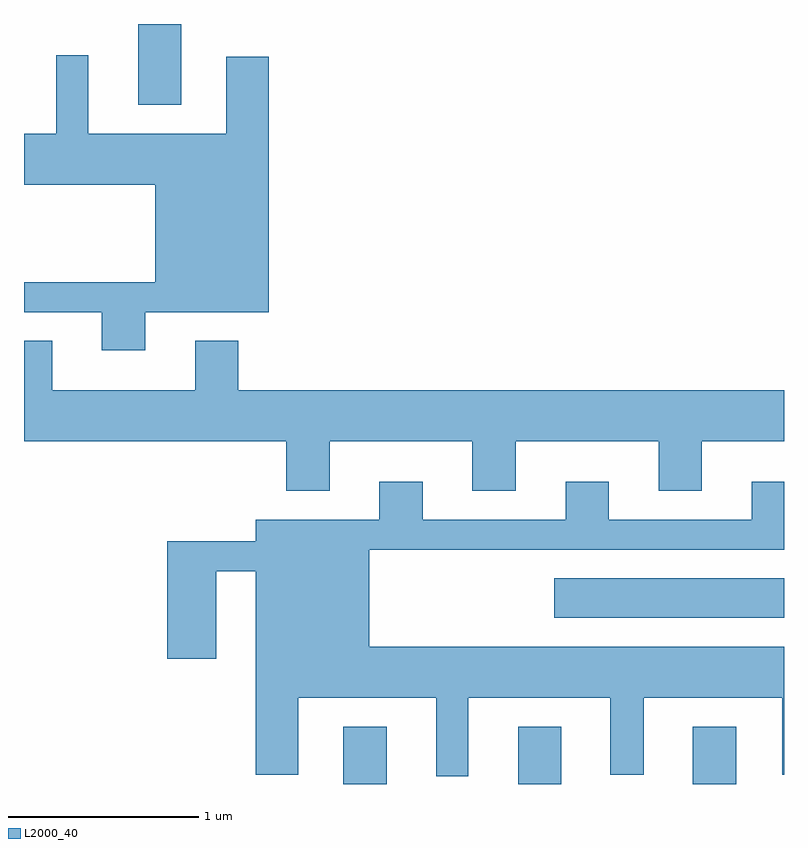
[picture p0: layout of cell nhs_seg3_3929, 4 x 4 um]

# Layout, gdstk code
import gdstk
lib = gdstk.Library(unit=1e-6, precision=1e-09)
def R(c, l, rs):  # rectangles x0, y0, x1, y1
    for r in rs: c.add(gdstk.rectangle(r[:2], r[2:], *l))
def A(c, l, x, y, w, h, nx, ny, dx, dy):  # array of equal rectangles
    R(c, l, [(x+i*dx, y+j*dy, x+i*dx+w, y+j*dy+h) for i in range(nx) for j in range(ny)])
def P(c, l, *ps):  # polygons
    for p in ps: c.add(gdstk.Polygon(p, *l))
L2000_40 = (2000, 40)

nhs_seg3_3929 = lib.new_cell('nhs_seg3_3929')
A(nhs_seg3_3929, L2000_40, 301.291, 1221.892, 0.228, 0.302, 3, 1, 0.92, 0)
R(nhs_seg3_3929, L2000_40, [(302.401,1222.766,303.611,1222.974), (300.211,1225.466,300.439,1225.892)])
P(nhs_seg3_3929, L2000_40, [(300.249,1224.376),(300.899,1224.376),(300.899,1225.719),(300.676,1225.719),(300.676,1225.314),(299.949,1225.314),(299.949,1225.728),(299.781,1225.728),(299.781,1225.314),(299.611,1225.314),(299.611,1225.046),(300.301,1225.046),(300.301,1224.534),(299.611,1224.534),(299.611,1224.376),(300.021,1224.376),(300.021,1224.176),(300.249,1224.176)],
  [(300.511,1224.224),(300.511,1223.964),(299.759,1223.964),(299.759,1224.224),(299.611,1224.224),(299.611,1223.696),(300.991,1223.696),(300.991,1223.436),(301.219,1223.436),(301.219,1223.696),(301.971,1223.696),(301.971,1223.436),(302.199,1223.436),(302.199,1223.696),(302.951,1223.696),(302.951,1223.436),(303.179,1223.436),(303.179,1223.696),(303.611,1223.696),(303.611,1223.964),(300.739,1223.964),(300.739,1224.224)],
  [(301.949,1222.346),(302.696,1222.346),(302.696,1221.941),(302.874,1221.941),(302.874,1222.346),(303.601,1222.346),(303.601,1221.941),(303.611,1221.941),(303.611,1222.614),(301.429,1222.614),(301.429,1223.126),(303.611,1223.126),(303.611,1223.484),(303.441,1223.484),(303.441,1223.284),(302.689,1223.284),(302.689,1223.484),(302.461,1223.484),(302.461,1223.284),(301.709,1223.284),(301.709,1223.484),(301.481,1223.484),(301.481,1223.284),(300.831,1223.284),(300.831,1223.169),(300.366,1223.169),(300.366,1222.551),(300.624,1222.551),(300.624,1223.011),(300.831,1223.011),(300.831,1221.941),(301.054,1221.941),(301.054,1222.346),(301.781,1222.346),(301.781,1221.933),(301.949,1221.933)])

lib.write_gds('nhs_seg3_3929.gds')
